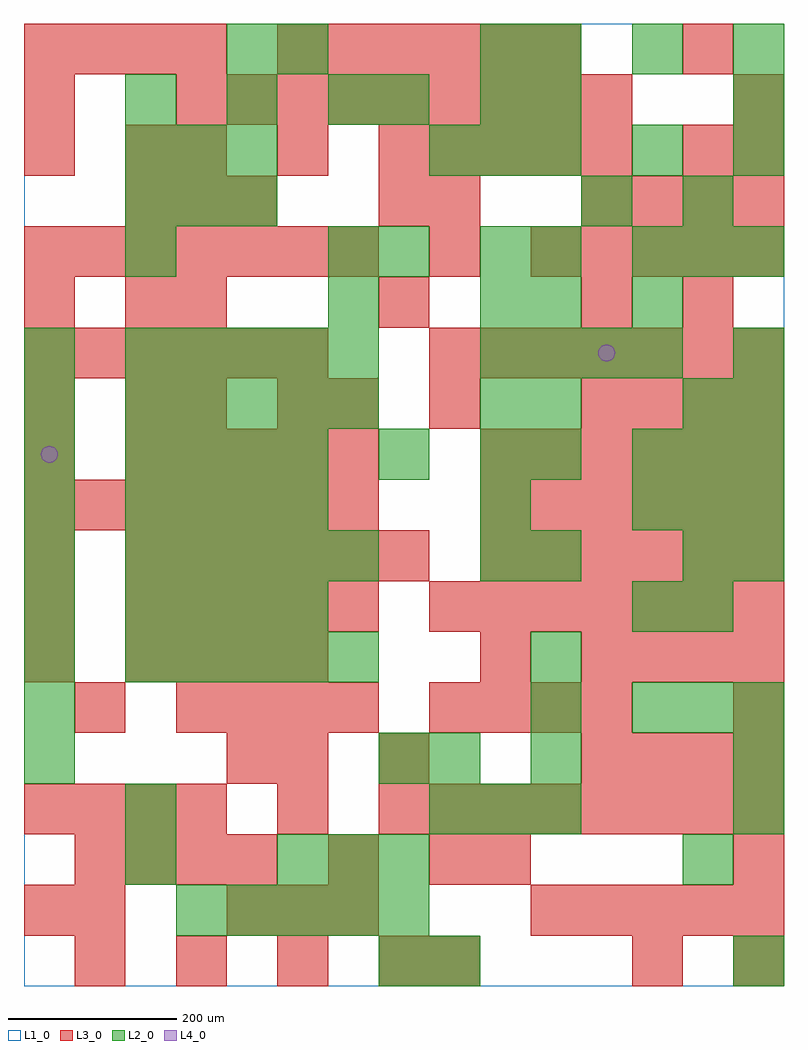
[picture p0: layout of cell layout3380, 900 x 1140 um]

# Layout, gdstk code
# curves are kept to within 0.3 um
import gdstk
lib = gdstk.Library(unit=1e-6, precision=1e-09)
def R(c, l, rs):  # rectangles x0, y0, x1, y1
    for r in rs: c.add(gdstk.rectangle(r[:2], r[2:], *l))
def A(c, l, x, y, w, h, nx, ny, dx, dy):  # array of equal rectangles
    R(c, l, [(x+i*dx, y+j*dy, x+i*dx+w, y+j*dy+h) for i in range(nx) for j in range(ny)])
def P(c, l, *ps):  # polygons
    for p in ps: c.add(gdstk.Polygon(p, *l))
L1_0 = (1, 0)
L2_0 = (2, 0)
L3_0 = (3, 0)
L4_0 = (4, 0)

layout3380 = lib.new_cell('layout3380')
R(layout3380, L1_0, [(0,0,900,1140)])
A(layout3380, L2_0, 180, 60, 60, 60, 5, 1, 60, 0)
A(layout3380, L2_0, 300, 120, 60, 60, 3, 1, 60, 0)
A(layout3380, L2_0, 480, 180, 60, 60, 3, 2, 60, 780)
A(layout3380, L2_0, 0, 240, 60, 60, 1, 9, 0, 60)
A(layout3380, L2_0, 600, 240, 60, 60, 1, 3, 0, 60)
A(layout3380, L2_0, 720, 300, 60, 60, 3, 2, 60, 240)
A(layout3380, L2_0, 120, 360, 60, 60, 5, 2, 60, 120)
A(layout3380, L2_0, 120, 420, 60, 60, 4, 2, 60, 120)
A(layout3380, L2_0, 540, 480, 60, 60, 1, 4, 0, 60)
A(layout3380, L2_0, 120, 600, 60, 60, 4, 1, 60, 0)
A(layout3380, L2_0, 720, 600, 60, 60, 3, 2, 60, 240)
A(layout3380, L2_0, 120, 660, 60, 60, 5, 2, 60, 60)
A(layout3380, L2_0, 540, 720, 60, 60, 4, 1, 60, 0)
A(layout3380, L2_0, 120, 900, 60, 60, 3, 2, 60, 60)
A(layout3380, L2_0, 120, 1020, 60, 60, 3, 1, 120, 0)
A(layout3380, L2_0, 600, 1080, 60, 60, 3, 1, 120, 0)
R(layout3380, L2_0, [(420,0,480,60), (480,0,540,60), (840,0,900,60), (120,120,180,180), (780,120,840,180), (120,180,180,240), (840,180,900,240), (420,240,480,300), (480,240,540,300), (840,240,900,300), (720,420,780,480), (780,420,840,480), (600,480,660,540), (780,480,840,540), (840,480,900,540), (420,600,480,660), (600,600,660,660), (600,660,660,720), (780,660,840,720), (840,660,900,720), (840,720,900,780), (360,780,420,840), (540,780,600,840), (600,780,660,840), (720,780,780,840), (120,840,180,900), (360,840,420,900), (420,840,480,900), (540,840,600,900), (600,840,660,900), (660,900,720,960), (780,900,840,960), (720,960,780,1020), (840,960,900,1020), (420,1020,480,1080), (540,1020,600,1080), (600,1020,660,1080), (840,1020,900,1080), (240,1080,300,1140), (300,1080,360,1140), (540,1080,600,1140)])
A(layout3380, L3_0, 60, 0, 60, 60, 4, 1, 120, 0)
A(layout3380, L3_0, 240, 60, 60, 60, 3, 1, 60, 0)
A(layout3380, L3_0, 600, 60, 60, 60, 5, 2, 60, 780)
A(layout3380, L3_0, 60, 120, 60, 60, 4, 1, 60, 0)
A(layout3380, L3_0, 0, 180, 60, 60, 4, 2, 60, 900)
A(layout3380, L3_0, 420, 180, 60, 60, 8, 1, 60, 0)
A(layout3380, L3_0, 660, 240, 60, 60, 4, 2, 60, 120)
A(layout3380, L3_0, 180, 300, 60, 60, 4, 1, 60, 0)
A(layout3380, L3_0, 480, 300, 60, 60, 4, 2, 60, 660)
A(layout3380, L3_0, 0, 360, 60, 60, 1, 3, 0, 60)
A(layout3380, L3_0, 120, 360, 60, 60, 4, 1, 60, 0)
A(layout3380, L3_0, 120, 420, 60, 60, 5, 2, 60, 180)
A(layout3380, L3_0, 480, 420, 60, 60, 7, 2, 60, 300)
A(layout3380, L3_0, 120, 480, 60, 60, 6, 1, 60, 0)
A(layout3380, L3_0, 540, 480, 60, 60, 6, 3, 60, 60)
A(layout3380, L3_0, 0, 540, 60, 60, 7, 2, 60, 300)
A(layout3380, L3_0, 660, 660, 60, 60, 4, 2, 60, 240)
A(layout3380, L3_0, 0, 720, 60, 60, 6, 1, 60, 0)
A(layout3380, L3_0, 180, 780, 60, 60, 3, 1, 240, 0)
A(layout3380, L3_0, 120, 900, 60, 60, 3, 1, 60, 0)
A(layout3380, L3_0, 180, 960, 60, 60, 3, 1, 120, 0)
A(layout3380, L3_0, 180, 1020, 60, 60, 9, 1, 60, 0)
A(layout3380, L3_0, 300, 1080, 60, 60, 6, 1, 60, 0)
R(layout3380, L3_0, [(480,0,540,60), (720,0,780,60), (840,0,900,60), (0,60,60,120), (60,60,120,120), (360,120,420,180), (480,120,540,180), (540,120,600,180), (840,120,900,180), (300,180,360,240), (240,240,300,300), (300,240,360,300), (420,240,480,300), (60,300,120,360), (840,300,900,360), (540,360,600,420), (0,600,60,660), (0,660,60,720), (120,660,180,720), (180,660,240,720), (300,660,360,720), (360,660,420,720), (480,660,540,720), (0,780,60,840), (120,780,180,840), (780,780,840,840), (480,840,540,900), (420,900,480,960), (480,900,540,960), (0,960,60,1020), (120,960,180,1020), (780,960,840,1020), (840,960,900,1020), (0,1020,60,1080), (840,1020,900,1080), (780,1080,840,1140)])
P(layout3380, L4_0, [(40,630),(39.239,633.827),(37.071,637.071),(33.827,639.239),(30,640),(26.173,639.239),(22.929,637.071),(20.761,633.827),(20,630),(20.761,626.173),(22.929,622.929),(26.173,620.761),(30,620),(33.827,620.761),(37.071,622.929),(39.239,626.173)],
  [(700,750),(699.239,753.827),(697.071,757.071),(693.827,759.239),(690,760),(686.173,759.239),(682.929,757.071),(680.761,753.827),(680,750),(680.761,746.173),(682.929,742.929),(686.173,740.761),(690,740),(693.827,740.761),(697.071,742.929),(699.239,746.173)])

lib.write_gds('layout3380.gds')
